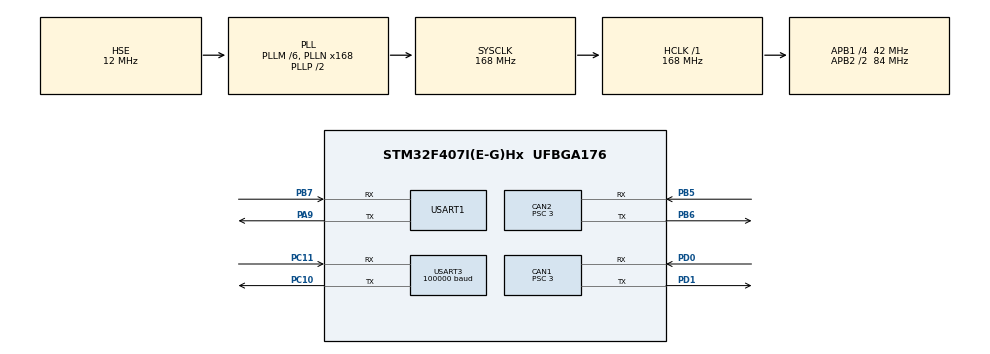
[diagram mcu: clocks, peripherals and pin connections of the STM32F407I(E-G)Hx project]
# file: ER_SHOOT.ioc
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CAN1.BS1=CAN_BS1_7TQ
CAN1.BS2=CAN_BS2_6TQ
CAN1.CalculateBaudRate=1000000
CAN1.CalculateTimeBit=1000
CAN1.CalculateTimeQuantum=71.42857142857143
CAN1.Prescaler=3
CAN2.BS1=CAN_BS1_10TQ
CAN2.BS2=CAN_BS2_3TQ
CAN2.CalculateBaudRate=1000000
CAN2.CalculateTimeBit=1000
CAN2.CalculateTimeQuantum=71.42857142857143
CAN2.Prescaler=3
Dma.Request0=USART3_RX
Dma.USART3_RX.0.Direction=DMA_PERIPH_TO_MEMORY
Dma.USART3_RX.0.FIFOMode=DMA_FIFOMODE_DISABLE
Dma.USART3_RX.0.Instance=DMA1_Stream1
Dma.USART3_RX.0.MemDataAlignment=DMA_MDATAALIGN_BYTE
Dma.USART3_RX.0.MemInc=DMA_MINC_ENABLE
Dma.USART3_RX.0.Mode=DMA_NORMAL
Dma.USART3_RX.0.PeriphDataAlignment=DMA_PDATAALIGN_BYTE
Dma.USART3_RX.0.PeriphInc=DMA_PINC_DISABLE
Dma.USART3_RX.0.Priority=DMA_PRIORITY_VERY_HIGH
Mcu.Family=STM32F4
Mcu.Name=STM32F407I(E-G)Hx
Mcu.Package=UFBGA176
NVIC.CAN1_RX0_IRQn=true\:0\:0\:false\:false\:true\:true\:true\:true
NVIC.CAN2_RX0_IRQn=true\:0\:0\:false\:false\:true\:true\:true\:true
NVIC.DMA1_Stream1_IRQn=true\:0\:0\:false\:false\:true\:false\:true\:true
NVIC.PriorityGroup=NVIC_PRIORITYGROUP_4
NVIC.TIM6_DAC_IRQn=true\:0\:0\:false\:false\:true\:true\:true\:true
NVIC.USART1_IRQn=true\:0\:0\:false\:false\:true\:true\:true\:true
NVIC.USART3_IRQn=true\:0\:0\:false\:false\:true\:true\:true\:true
PA13.Mode=Serial_Wire
PA13.Signal=SYS_JTMS-SWDIO
PA14.Mode=Serial_Wire
PA14.Signal=SYS_JTCK-SWCLK
PA9.Mode=Asynchronous
PA9.Signal=USART1_TX
PB5.Mode=CAN_Activate
PB5.Signal=CAN2_RX
PB6.Mode=CAN_Activate
PB6.Signal=CAN2_TX
PB7.Mode=Asynchronous
PB7.Signal=USART1_RX
PC10.Mode=Asynchronous
PC10.Signal=USART3_TX
PC11.Mode=Asynchronous
PC11.Signal=USART3_RX
PD0.Mode=CAN_Activate
PD0.Signal=CAN1_RX
PD1.Mode=CAN_Activate
PD1.Signal=CAN1_TX
PH0-OSC_IN.Mode=HSE-External-Oscillator
PH0-OSC_IN.Signal=RCC_OSC_IN
PH1-OSC_OUT.Mode=HSE-External-Oscillator
PH1-OSC_OUT.Signal=RCC_OSC_OUT
ProjectManager.HeapSize=0x200
ProjectManager.StackSize=0x400
ProjectManager.TargetToolchain=MDK-ARM V5.32
RCC.48MHZClocksFreq_Value=84000000
RCC.AHBFreq_Value=168000000
RCC.APB1CLKDivider=RCC_HCLK_DIV4
RCC.APB1Freq_Value=42000000
RCC.APB1TimFreq_Value=84000000
RCC.APB2CLKDivider=RCC_HCLK_DIV2
RCC.APB2Freq_Value=84000000
RCC.APB2TimFreq_Value=168000000
RCC.CortexFreq_Value=168000000
RCC.HCLKFreq_Value=168000000
RCC.HSE_VALUE=12000000
RCC.HSI_VALUE=16000000
RCC.LSE_VALUE=32768
RCC.PLLM=6
RCC.PLLN=168
RCC.PLLSourceVirtual=RCC_PLLSOURCE_HSE
RCC.SYSCLKFreq_VALUE=168000000
RCC.SYSCLKSource=RCC_SYSCLKSOURCE_PLLCLK
RCC.VCOOutputFreq_Value=336000000
TIM6.Period=1000-1
TIM6.Prescaler=84-1
USART1.VirtualMode=VM_ASYNC
USART3.BaudRate=100000
USART3.Mode=MODE_RX
USART3.VirtualMode=VM_ASYNC
VP_TIM6_VS_ClockSourceINT.Mode=Enable_Timer
board=custom

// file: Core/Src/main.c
/* USER CODE BEGIN Header */
/**
  ******************************************************************************
  * @file           : main.c
  * @brief          : Main program body
  ******************************************************************************
  * @attention
  *
  * Copyright (c) 2023 STMicroelectronics.
  * All rights reserved.
  *
  * This software is licensed under terms that can be found in the LICENSE file
  * in the root directory of this software component.
  * If no LICENSE file comes with this software, it is provided AS-IS.
  *
  ******************************************************************************
  */
/* USER CODE END Header */
#include "main.h"
#include "can.h"
#include "dma.h"
#include "tim.h"
#include "usart.h"
#include "gpio.h"

/* USER CODE BEGIN Includes */
#include "pid_user.h"
#include <stdio.h>
/* USER CODE END Includes */

void SystemClock_Config(void);

/* USER CODE BEGIN 0 */
extern uint8_t bluetooth_rx[1];
extern fp32 speed_delta[2];
extern fp32 shoot_speed_final[2];
/* USER CODE END 0 */

int main(void)
{

  /* MCU Configuration--------------------------------------------------------*/

  /* Reset of all peripherals, Initializes the Flash interface and the Systick. */
  HAL_Init();

  /* Configure the system clock */
  SystemClock_Config();

  /* Initialize all configured peripherals */
  MX_GPIO_Init();
  MX_DMA_Init();
  MX_USART1_UART_Init();
  MX_USART3_UART_Init();
  MX_CAN1_Init();
  MX_CAN2_Init();
  MX_TIM6_Init();
  /* USER CODE BEGIN 2 */
//初始化遥控器
	remote_control_init();

//初始化PID（写在RTOS中）
	PID_devices_Init();

//初始化CAN滤波器
	CAN1_Filter_Init();
	CAN2_Filter_Init();

//开启CAN通信
	CAN_Start(&hcan1);
	CAN_Start(&hcan2);

	HAL_UART_Receive_IT(&huart1,bluetooth_rx,1);
//如果不使能定时器中断则
//HAL_TIM_Base_Start(&htim1);
//如果使能定时器中断则
	HAL_TIM_Base_Start_IT(&htim6);
  /* USER CODE END 2 */

  /* Infinite loop */
  while (1)
  {

    /* USER CODE BEGIN 3 */
		printf("当前delta是:");
		printf("%f",speed_delta[0]);
		printf("当前上摩擦滚速度是:");
		printf("%f",shoot_speed_final[0]);
		HAL_Delay(500);
  }
  /* USER CODE END 3 */
}

void SystemClock_Config(void)
{
  RCC_OscInitTypeDef RCC_OscInitStruct = {0};
  RCC_ClkInitTypeDef RCC_ClkInitStruct = {0};

  /** Configure the main internal regulator output voltage
  */
  __HAL_RCC_PWR_CLK_ENABLE();
  __HAL_PWR_VOLTAGESCALING_CONFIG(PWR_REGULATOR_VOLTAGE_SCALE1);

  /** Initializes the RCC Oscillators according to the specified parameters
  * in the RCC_OscInitTypeDef structure.
  */
  RCC_OscInitStruct.OscillatorType = RCC_OSCILLATORTYPE_HSE;
  RCC_OscInitStruct.HSEState = RCC_HSE_ON;
  RCC_OscInitStruct.PLL.PLLState = RCC_PLL_ON;
  RCC_OscInitStruct.PLL.PLLSource = RCC_PLLSOURCE_HSE;
  RCC_OscInitStruct.PLL.PLLM = 6;
  RCC_OscInitStruct.PLL.PLLN = 168;
  RCC_OscInitStruct.PLL.PLLP = RCC_PLLP_DIV2;
  RCC_OscInitStruct.PLL.PLLQ = 4;
  if (HAL_RCC_OscConfig(&RCC_OscInitStruct) != HAL_OK)
  {
    Error_Handler();
  }

  /** Initializes the CPU, AHB and APB buses clocks
  */
  RCC_ClkInitStruct.ClockType = RCC_CLOCKTYPE_HCLK|RCC_CLOCKTYPE_SYSCLK
                              |RCC_CLOCKTYPE_PCLK1|RCC_CLOCKTYPE_PCLK2;
  RCC_ClkInitStruct.SYSCLKSource = RCC_SYSCLKSOURCE_PLLCLK;
  RCC_ClkInitStruct.AHBCLKDivider = RCC_SYSCLK_DIV1;
  RCC_ClkInitStruct.APB1CLKDivider = RCC_HCLK_DIV4;
  RCC_ClkInitStruct.APB2CLKDivider = RCC_HCLK_DIV2;

  if (HAL_RCC_ClockConfig(&RCC_ClkInitStruct, FLASH_LATENCY_5) != HAL_OK)
  {
    Error_Handler();
  }
}

void Error_Handler(void)
{
  __disable_irq();
  while (1)
  {
  }
}
